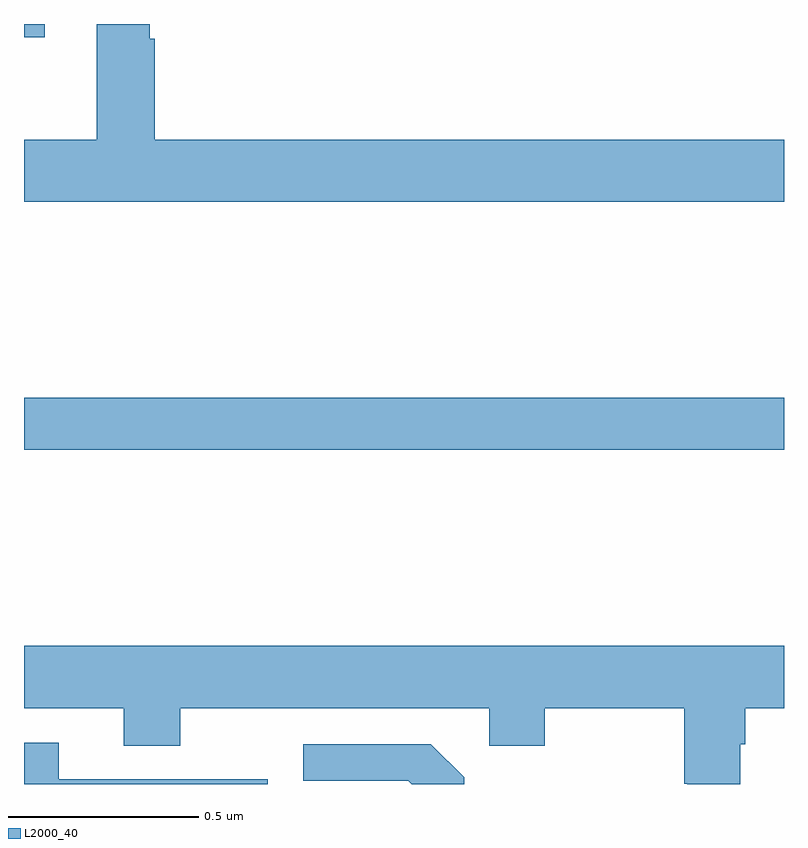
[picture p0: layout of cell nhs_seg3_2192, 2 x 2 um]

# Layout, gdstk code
import gdstk
lib = gdstk.Library(unit=1e-6, precision=1e-09)
def R(c, l, rs):  # rectangles x0, y0, x1, y1
    for r in rs: c.add(gdstk.rectangle(r[:2], r[2:], *l))
def P(c, l, *ps):  # polygons
    for p in ps: c.add(gdstk.Polygon(p, *l))
L2000_40 = (2000, 40)

nhs_seg3_2192 = lib.new_cell('nhs_seg3_2192')
R(nhs_seg3_2192, L2000_40, [(138,684.28,140,684.416), (138,685.365,138.055,685.4)])
P(nhs_seg3_2192, L2000_40, [(140,685.096),(138.344,685.096),(138.344,685.361),(138.331,685.361),(138.331,685.4),(138.191,685.4),(138.191,685.096),(138,685.096),(138,684.932),(140,684.932)],
  [(139.885,683.504),(139.898,683.504),(139.898,683.6),(140,683.6),(140,683.764),(138,683.764),(138,683.6),(138.263,683.6),(138.263,683.501),(138.411,683.501),(138.411,683.6),(139.224,683.6),(139.224,683.501),(139.371,683.501),(139.371,683.6),(139.738,683.6),(139.738,683.401),(139.745,683.401),(139.745,683.4),(139.885,683.4)],
  [(138.642,683.412),(138.091,683.412),(138.091,683.508),(138,683.508),(138,683.4),(138.642,683.4)],
  [(139.158,683.418),(139.071,683.505),(138.735,683.505),(138.735,683.409),(139.011,683.409),(139.02,683.4),(139.158,683.4)])

lib.write_gds('nhs_seg3_2192.gds')
